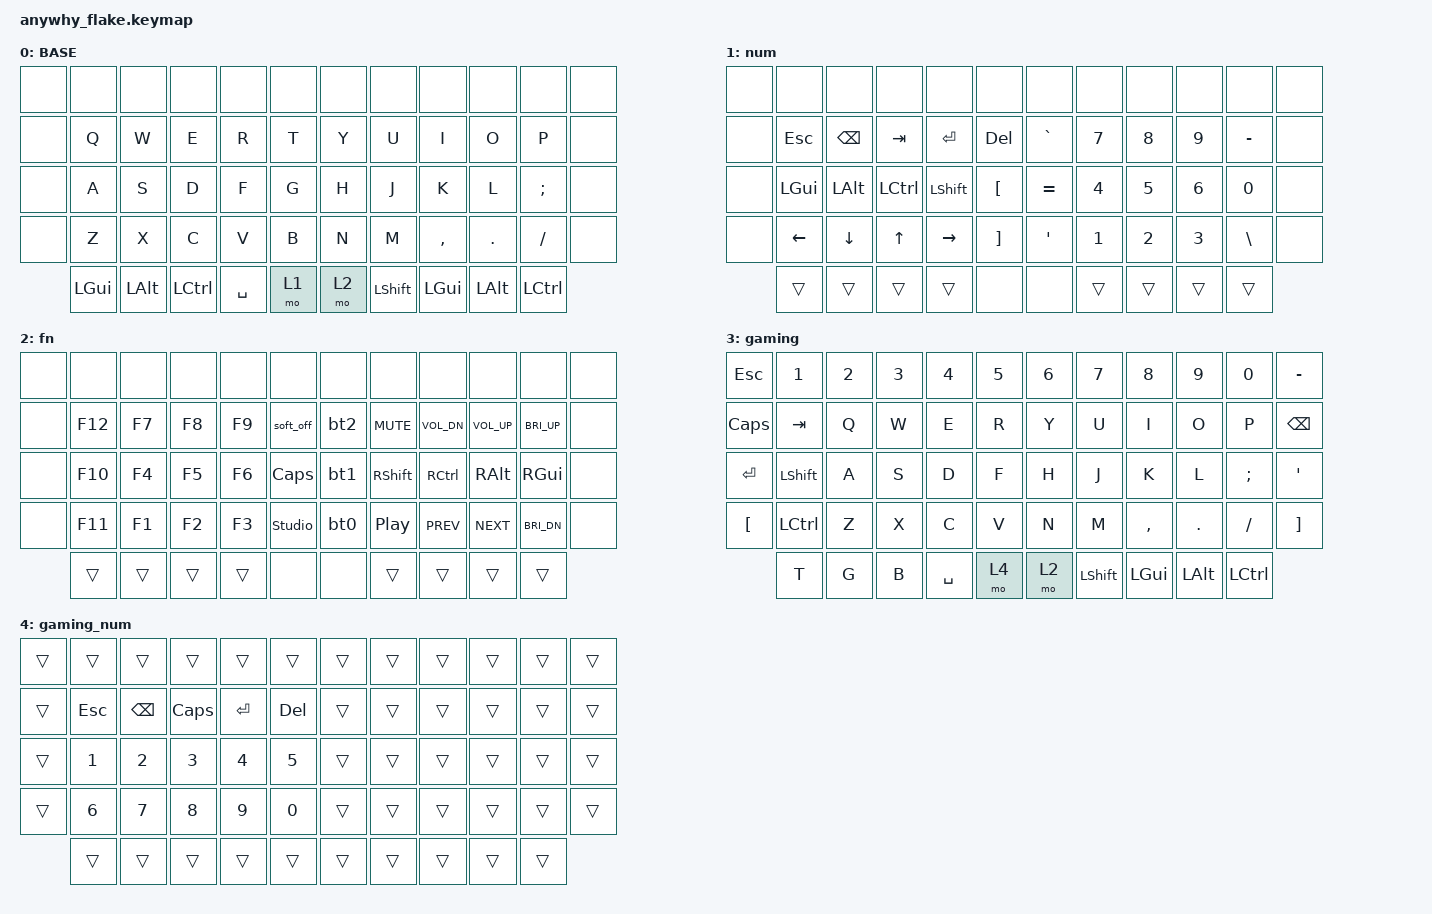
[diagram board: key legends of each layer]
#include <behaviors.dtsi>
#include <dt-bindings/zmk/bt.h>
#include <dt-bindings/zmk/keys.h>

// #include <zmk-helpers/helper.h>

// Source desired key-position labels
// #include <zmk-helpers/key-labels/flake.h>

#include "combos.dtsi"

#define XXX &none
#define TODO ___
#define ___ &trans

#define BASE 0
#define NAV 1
#define NUM 2
#define FUN 3
#define SYM 4


#define KEYS_L LT0 LT1 LT2 LT3 LT4 LM0 LM1 LM2 LM3 LM4 LM5 LB0 LB1 LB2 LB3 LB4 LB5 // left hand
#define KEYS_R RT0 RT1 RT2 RT3 RT4 RM0 RM1 RM2 RM3 RM4 RM5 RB0 RB1 RB2 RB3 RB4 RB5 // right hand
#define THUMBS LH4 LH3 LH2 LH1 LH0 RH0 RH1 RH2 RH3 RH4                                   // thumbs

/ {
    combos {
        compatible = "zmk,combos";

        bt_sel_3 {
            bindings = <&bt3>;
            key-positions = <42 30>;
            layers = <2>;
        };

        bt_sel_4 {
            bindings = <&bt4>;
            key-positions = <30 18>;
            layers = <2>;
        };

        enter_gaming {
            bindings = <&sl 3>;
            key-positions = <26 15 28>;
            layers = <2>;
        };

        leave_gaming {
            bindings = <&sl 0>;
            key-positions = <31 20 33>;
            layers = <4>;
        };

        grave {
            bindings = <&kp GRAVE>;
            key-positions = <13 25>;
            layers = <3>;
        };
    };

    macros {
        bt_clr_0: bt_clr_0 {
            compatible = "zmk,behavior-macro";
            #binding-cells = <0>;
            bindings = <&bt BT_SEL 0 &bt BT_CLR>;
            label = "BT_CLR_0";
        };

        bt_clr_1: bt_clr_1 {
            compatible = "zmk,behavior-macro";
            #binding-cells = <0>;
            bindings = <&bt BT_SEL 1 &bt BT_CLR>;
            label = "BT_CLR_1";
        };

        bt_clr_2: bt_clr_2 {
            compatible = "zmk,behavior-macro";
            #binding-cells = <0>;
            bindings = <&bt BT_SEL 2 &bt BT_CLR>;
            label = "BT_CLR_2";
        };

        bt_clr_3: bt_clr_3 {
            compatible = "zmk,behavior-macro";
            #binding-cells = <0>;
            bindings = <&bt BT_SEL 3 &bt BT_CLR>;
            label = "BT_CLR_3";
        };

        bt_clr_4: bt_clr_4 {
            compatible = "zmk,behavior-macro";
            #binding-cells = <0>;
            bindings = <&bt BT_SEL 4 &bt BT_CLR>;
            label = "BT_CLR_4";
        };
    };

    behaviors {
        bt0: bt0 {
            compatible = "zmk,behavior-mod-morph";
            label = "BT0";
            bindings = <&bt BT_SEL 0>, <&bt_clr_0>;

            #binding-cells = <0>;
            mods = <(MOD_LSFT|MOD_RSFT)>;
        };

        bt1: bt1 {
            compatible = "zmk,behavior-mod-morph";
            label = "BT1";
            bindings = <&bt BT_SEL 1>, <&bt_clr_1>;

            #binding-cells = <0>;
            mods = <(MOD_LSFT|MOD_RSFT)>;
        };

        bt2: bt2 {
            compatible = "zmk,behavior-mod-morph";
            label = "BT2";
            bindings = <&bt BT_SEL 2>, <&bt_clr_2>;

            #binding-cells = <0>;
            mods = <(MOD_LSFT|MOD_RSFT)>;
        };

        bt3: bt3 {
            compatible = "zmk,behavior-mod-morph";
            label = "BT3";
            bindings = <&bt BT_SEL 3>, <&bt_clr_3>;

            #binding-cells = <0>;
            mods = <(MOD_LSFT|MOD_RSFT)>;
        };

        bt4: bt4 {
            compatible = "zmk,behavior-mod-morph";
            label = "BT4";
            bindings = <&bt BT_SEL 4>, <&bt_clr_4>;

            #binding-cells = <0>;
            mods = <(MOD_LSFT|MOD_RSFT)>;
        };
    };

    keymap {
        compatible = "zmk,keymap";

        base_layer {
            label = "BASE";
            bindings = <
&none  &none     &none     &none      &none      &none       &none      &none     &none      &none     &none      &none
&none  &kp Q     &kp W     &kp E      &kp R      &kp T       &kp Y      &kp U     &kp I      &kp O     &kp P      &none
&none  &kp A     &kp S     &kp D      &kp F      &kp G       &kp H      &kp J     &kp K      &kp L     &kp SEMI   &none
&none  &kp Z     &kp X     &kp C      &kp V      &kp B       &kp N      &kp M     &kp COMMA  &kp DOT   &kp FSLH   &none
           &kp LGUI  &kp LALT  &kp LCTRL  &kp SPACE  &mo 1     &mo 2   &kp LSHFT  &kp LGUI   &kp LALT  &kp LCTRL
            >;
        };

        num {
            bindings = <
&none  &none     &none          &none      &none      &none       &none      &none   &none   &none   &none      &none
&none  &kp ESC   &kp BACKSPACE  &kp TAB    &kp ENTER  &kp DEL     &kp GRAVE  &kp N7  &kp N8  &kp N9  &kp MINUS  &none
&none  &kp LGUI  &kp LALT       &kp LCTRL  &kp LSHFT  &kp LBKT    &kp EQUAL  &kp N4  &kp N5  &kp N6  &kp N0     &none
&none  &kp LEFT  &kp DOWN       &kp UP     &kp RIGHT  &kp RBKT    &kp SQT    &kp N1  &kp N2  &kp N3  &kp BSLH   &none
       &trans    &trans         &trans     &trans     &none       &none      &trans  &trans  &trans  &trans
            >;
        };

        fn {
            bindings = <
&none  &none    &none   &none   &none   &none             &none  &none       &none         &none         &none         &none
&none  &kp F12  &kp F7  &kp F8  &kp F9  &soft_off         &bt2   &kp C_MUTE  &kp C_VOL_DN  &kp C_VOL_UP  &kp C_BRI_UP  &none
&none  &kp F10  &kp F4  &kp F5  &kp F6  &kp CAPS          &bt1   &kp RSHFT   &kp RCTRL     &kp RALT      &kp RGUI      &none
&none  &kp F11  &kp F1  &kp F2  &kp F3  &studio_unlock    &bt0   &kp C_PP    &kp C_PREV    &kp C_NEXT    &kp C_BRI_DN  &none
       &trans   &trans  &trans  &trans  &none             &none  &trans      &trans        &trans        &trans
            >;
        };

        gaming {
            bindings = <
&kp ESC    &kp N1     &kp N2  &kp N3  &kp N4     &kp N5    &kp N6  &kp N7     &kp N8     &kp N9    &kp N0     &kp MINUS
&kp CAPS   &kp TAB    &kp Q   &kp W   &kp E      &kp R     &kp Y   &kp U      &kp I      &kp O     &kp P      &kp BSPC
&kp ENTER  &kp LSHFT  &kp A   &kp S   &kp D      &kp F     &kp H   &kp J      &kp K      &kp L     &kp SEMI   &kp APOS
&kp LBKT   &kp LCTRL  &kp Z   &kp X   &kp C      &kp V     &kp N   &kp M      &kp COMMA  &kp DOT   &kp FSLH   &kp RBKT
           &kp T      &kp G   &kp B   &kp SPACE  &mo 4     &mo 2   &kp LSHFT  &kp LGUI   &kp LALT  &kp LCTRL
            >;
        };

        gaming_num {
            bindings = <
&trans  &trans   &trans    &trans    &trans     &trans     &trans  &trans  &trans  &trans  &trans  &trans
&trans  &kp ESC  &kp BSPC  &kp CAPS  &kp ENTER  &kp DEL    &trans  &trans  &trans  &trans  &trans  &trans
&trans  &kp N1   &kp N2    &kp N3    &kp N4     &kp N5     &trans  &trans  &trans  &trans  &trans  &trans
&trans  &kp N6   &kp N7    &kp N8    &kp N9     &kp N0     &trans  &trans  &trans  &trans  &trans  &trans
        &trans   &trans    &trans    &trans     &trans     &trans  &trans  &trans  &trans  &trans
            >;
        };
    };
};
